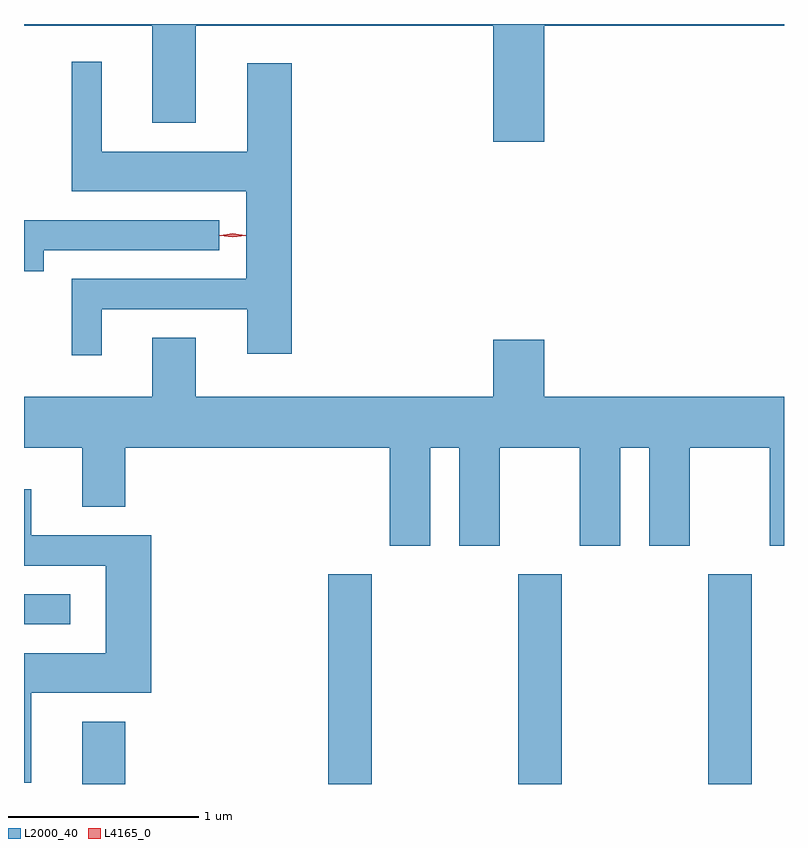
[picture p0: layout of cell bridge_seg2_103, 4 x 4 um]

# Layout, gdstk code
import gdstk
lib = gdstk.Library(unit=1e-6, precision=1e-09)
def R(c, l, rs):  # rectangles x0, y0, x1, y1
    for r in rs: c.add(gdstk.rectangle(r[:2], r[2:], *l))
def A(c, l, x, y, w, h, nx, ny, dx, dy):  # array of equal rectangles
    R(c, l, [(x+i*dx, y+j*dy, x+i*dx+w, y+j*dy+h) for i in range(nx) for j in range(ny)])
def P(c, l, *ps):  # polygons
    for p in ps: c.add(gdstk.Polygon(p, *l))
L2000_40 = (2000, 40)
L4165_0 = (4165, 0)

bridge_seg2_103 = lib.new_cell('bridge_seg2_103')
A(bridge_seg2_103, L2000_40, 1293.126, 991.046, 0.228, 1.103, 3, 1, 1, 0)
R(bridge_seg2_103, L2000_40, [(1291.831,991.046,1292.059,991.374), (1291.525,991.886,1291.768,992.044)])
P(bridge_seg2_103, L2000_40, [(1294.264,995.036),(1295.525,995.036),(1295.525,995.046),(1291.525,995.046),(1291.525,995.036),(1292.201,995.036),(1292.201,994.526),(1292.429,994.526),(1292.429,995.036),(1293.996,995.036),(1293.996,994.426),(1294.264,994.426)],
  [(1291.934,993.546),(1292.701,993.546),(1292.701,993.311),(1292.934,993.311),(1292.934,994.839),(1292.701,994.839),(1292.701,994.374),(1291.934,994.374),(1291.934,994.848),(1291.776,994.848),(1291.776,994.166),(1292.696,994.166),(1292.696,993.704),(1291.776,993.704),(1291.776,993.303),(1291.934,993.303)],
  [(1291.629,993.856),(1292.553,993.856),(1292.553,994.014),(1291.525,994.014),(1291.525,993.746),(1291.629,993.746)],
  [(1293.664,992.816),(1293.816,992.816),(1293.816,992.301),(1294.029,992.301),(1294.029,992.816),(1294.451,992.816),(1294.451,992.301),(1294.664,992.301),(1294.664,992.816),(1294.816,992.816),(1294.816,992.301),(1295.029,992.301),(1295.029,992.816),(1295.451,992.816),(1295.451,992.301),(1295.525,992.301),(1295.525,993.084),(1294.264,993.084),(1294.264,993.384),(1293.996,993.384),(1293.996,993.084),(1292.429,993.084),(1292.429,993.394),(1292.201,993.394),(1292.201,993.084),(1291.525,993.084),(1291.525,992.816),(1291.831,992.816),(1291.831,992.506),(1292.059,992.506),(1292.059,992.816),(1293.451,992.816),(1293.451,992.301),(1293.664,992.301)],
  [(1291.564,991.526),(1292.194,991.526),(1292.194,992.354),(1291.564,992.354),(1291.564,992.598),(1291.525,992.598),(1291.525,992.196),(1291.956,992.196),(1291.956,991.734),(1291.525,991.734),(1291.525,991.053),(1291.564,991.053)])
P(bridge_seg2_103, L4165_0, [(1292.623,993.923),(1292.554,993.932),(1292.553,993.933),(1292.554,993.933),(1292.623,993.943),(1292.692,993.933),(1292.693,993.933),(1292.692,993.932)],
  [(1292.623,993.925),(1292.558,993.934),(1292.557,993.935),(1292.558,993.935),(1292.623,993.945),(1292.689,993.935),(1292.689,993.935),(1292.689,993.934)])

lib.write_gds('bridge_seg2_103.gds')
